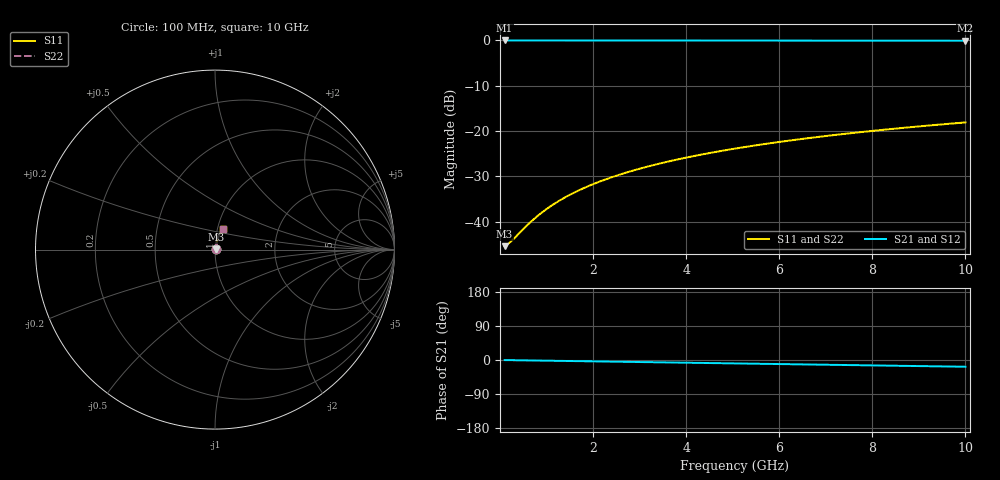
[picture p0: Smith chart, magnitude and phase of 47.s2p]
# Hz S RI R 50.00
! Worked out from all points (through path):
!   100 points, 100 MHz to 10 GHz, reference 50 ohm
!   highest |S21| = -0.05 dB at 100 MHz (marker M1); lowest = -0.1 dB at 10 GHz (marker M2)
!   group delay of S21, straight-line fit = 4.95 ps
!   lowest |S11| = -45.4 dB at 100 MHz (marker M3), VSWR 1.01, Z = 50.5 + j0.126 ohm
!   |S11| at or under -10 dB: start of sweep to end of sweep
!   |S22| runs from -45.4 to -18.1 dB; largest |S21 - S12| = 0
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1e8  0.00522 0.00125  0.9948 -0.0031  0.9948 -0.0031  0.00522 0.00125
2e8  0.00526 0.0025  0.9947 -0.00621  0.9947 -0.00621  0.00526 0.0025
3e8  0.00531 0.00375  0.9947 -0.00931  0.9947 -0.00931  0.00531 0.00375
5e8  0.00541 0.00625  0.9945 -0.0155  0.9945 -0.0155  0.00541 0.00625
7e8  0.00553 0.00875  0.9944 -0.0217  0.9944 -0.0217  0.00553 0.00875
8e8  0.0056 0.01  0.9943 -0.0248  0.9943 -0.0248  0.0056 0.01
1e9  0.00576 0.0125  0.994 -0.031  0.994 -0.031  0.00576 0.0125
1.2e9  0.00595 0.015  0.9938 -0.0372  0.9938 -0.0372  0.00595 0.015
1.4e9  0.00617 0.0175  0.9935 -0.0434  0.9935 -0.0434  0.00617 0.0175
1.6e9  0.00642 0.02  0.9931 -0.0496  0.9931 -0.0496  0.00642 0.02
1.8e9  0.0067 0.0224  0.9927 -0.0558  0.9927 -0.0558  0.0067 0.0224
2.1e9  0.00718 0.0262  0.992 -0.0651  0.992 -0.0651  0.00718 0.0262
2.5e9  0.00792 0.0311  0.991 -0.0774  0.991 -0.0774  0.00792 0.0311
2.9e9  0.00878 0.036  0.9897 -0.0898  0.9897 -0.0898  0.00878 0.036
3.4e9  0.01 0.0421  0.9879 -0.1052  0.9879 -0.1052  0.01 0.0421
4.2e9  0.0124 0.0518  0.9845 -0.1297  0.9845 -0.1297  0.0124 0.0518
5.1e9  0.0157 0.0625  0.9798 -0.1571  0.9798 -0.1571  0.0157 0.0625
5.9e9  0.019 0.0719  0.9748 -0.1813  0.9748 -0.1813  0.019 0.0719
6.7e9  0.0229 0.0811  0.9692 -0.2053  0.9692 -0.2053  0.0229 0.0811
7.5e9  0.0272 0.09  0.963 -0.229  0.963 -0.229  0.0272 0.09
8.4e9  0.0325 0.0998  0.9551 -0.2555  0.9551 -0.2555  0.0325 0.0998
1e10  0.0433 0.1163  0.9392 -0.3016  0.9392 -0.3016  0.0433 0.1163
